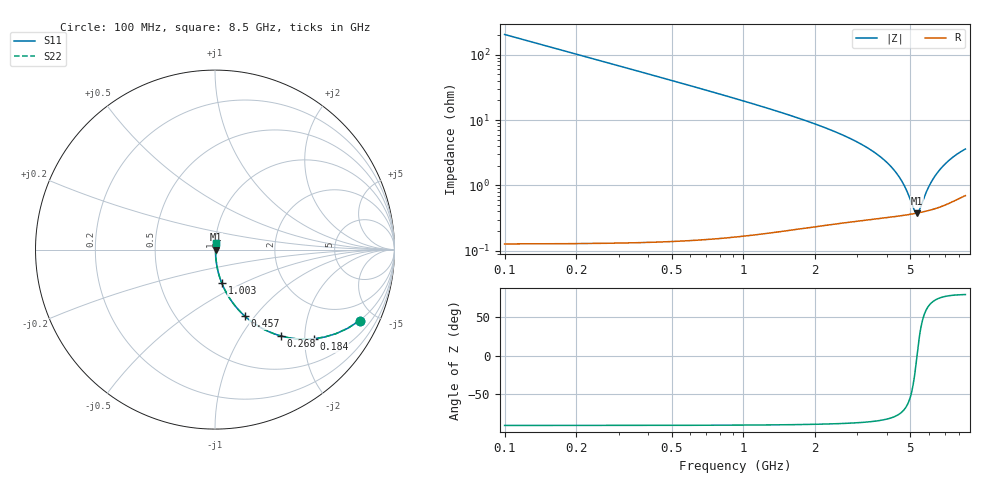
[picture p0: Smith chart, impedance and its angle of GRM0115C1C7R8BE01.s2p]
!Murata Part Number: GRM0115C1C7R8BE01
!These Parameters are Measured in Series Mode Connection
!Data Generated on Mar 30, 2021
!  o--ll--o
!Port1  Port2
!  o------o
!Operation Temp=25[degC], DC Bias Voltage=0[V]
!Freq. Start=100[MHz] Stop=9[GHz] 401[Steps]
# Hz S RI R 50
!Freq.(Hz) S11(Real) S11(Imag) S21(Real) S21(Imag) S12(Real) S12(Imag) S22(Real) S22(Imag)
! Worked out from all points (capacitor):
!   401 points, 100 MHz to 8.5 GHz, reference 50 ohm
!   read as one part in series: C = 7.8 pF near 142 MHz
!   lowest |Z| = 378 mohm at 5.329 GHz (marker M1)
!   series resonance near 5.33 GHz, so ESL is about 110 pH
!   S11 on the Smith chart (normalised r, x): 100 MHz: 1.00, -4.08; 184 MHz: 1.00, -2.21; 268 MHz: 1.00, -1.52; 457 MHz: 1.00, -0.89; 1.003 GHz: 1.00, -0.39; 8.5 GHz: 1.01, +0.07
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1e8  0.8061 -0.3951  0.1939 0.3951  0.1939 0.3951  0.8061 -0.3951
1.84e8  0.5508 -0.4968  0.4492 0.4968  0.4492 0.4968  0.5508 -0.4968
2.68e8  0.3659 -0.4808  0.6341 0.4808  0.6341 0.4808  0.3659 -0.4808
3.52e8  0.2502 -0.432  0.7498 0.432  0.7498 0.432  0.2502 -0.432
4.57e8  0.1647 -0.3694  0.8353 0.3694  0.8353 0.3694  0.1647 -0.3694
6.67e8  0.084 -0.275  0.916 0.275  0.916 0.275  0.084 -0.275
1.003e9  0.0383 -0.1878  0.9617 0.1878  0.9617 0.1878  0.0383 -0.1878
1.507e9  0.017 -0.1215  0.983 0.1215  0.983 0.1215  0.017 -0.1215
2.914e9  0.00513 -0.0482  0.9949 0.0482  0.9949 0.0482  0.00513 -0.0482
3.733e9  0.00387 -0.0274  0.9961 0.0274  0.9961 0.0274  0.00387 -0.0274
4.3e9  0.00359 -0.0163  0.9964 0.0163  0.9964 0.0163  0.00359 -0.0163
4.741e9  0.00358 -0.00884  0.9964 0.00884  0.9964 0.00884  0.00358 -0.00884
5.203e9  0.0037 -0.00182  0.9963 0.00182  0.9963 0.00182  0.0037 -0.00182
5.329e9  0.00376 -1.93e-05  0.9962 1.93e-05  0.9962 1.93e-05  0.00376 -1.93e-05
5.455e9  0.00383 0.00174  0.9962 -0.00174  0.9962 -0.00174  0.00383 0.00174
5.707e9  0.00399 0.00514  0.996 -0.00514  0.996 -0.00514  0.00399 0.00514
5.98e9  0.00421 0.00867  0.9958 -0.00867  0.9958 -0.00867  0.00421 0.00867
6.295e9  0.00451 0.0126  0.9955 -0.0126  0.9955 -0.0126  0.00451 0.0126
6.673e9  0.00496 0.017  0.995 -0.017  0.995 -0.017  0.00496 0.017
7.114e9  0.0056 0.0219  0.9944 -0.0219  0.9944 -0.0219  0.0056 0.0219
7.765e9  0.00676 0.0284  0.9932 -0.0284  0.9932 -0.0284  0.00676 0.0284
8.5e9  0.00817 0.0349  0.9918 -0.0349  0.9918 -0.0349  0.00817 0.0349
